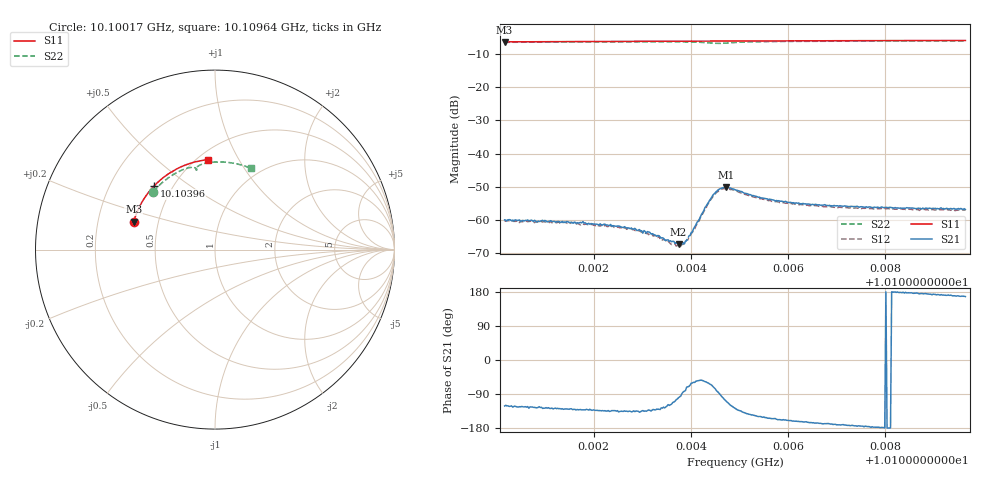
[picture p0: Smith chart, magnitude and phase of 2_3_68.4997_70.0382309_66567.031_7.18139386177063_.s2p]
#  HZ  S  RI  R  50.00
! Rohde & Schwarz Vector Network Analyzer
! Rohde-Schwarz,ZNB20-2Port,1311601062101988,3.16
! Created: UTC 3/20/2024, 5:03:49 PM
! freq[Hz]  re:S11  im:S11  re:S21  im:S21  re:S12  im:S12  re:S22  im:S22
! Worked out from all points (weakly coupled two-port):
!   401 points, 10.10017 GHz to 10.10964 GHz, reference 50 ohm
!   highest |S21| = -50.13 dB at 10.10472 GHz (marker M1); lowest = -67.2 dB at 10.10375 GHz (marker M2)
!   lowest |S11| = -6.4 dB at 10.10017 GHz (marker M3), VSWR 2.84, Z = 18 + j7.28 ohm
!   |S11| at or under -10 dB: nowhere
!   |S22| runs from -6.9 to -6.1 dB; largest |S21 - S12| = 0.00031
!   S11 on the Smith chart (normalised r, x): 10.10017 GHz: 0.36, +0.15; 10.10396 GHz: 0.40, +0.37; 10.10964 GHz: 0.56, +0.76
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1.0100168e10  -0.453 0.1554  -0.000524 -0.00086  -0.000425 -0.000874  -0.3431 0.3236
1.0101542e10  -0.4233 0.2338  -0.000572 -0.000716  -0.00055 -0.000748  -0.2793 0.3852
1.0101755e10  -0.4176 0.2452  -0.000605 -0.000678  -0.000514 -0.000693  -0.2683 0.3937
1.010275e10  -0.3863 0.2971  -0.000524 -0.000523  -0.00048 -0.000556  -0.2133 0.429
1.0103153e10  -0.3719 0.3168  -0.000443 -0.00048  -0.000409 -0.000481  -0.189 0.4407
1.0103343e10  -0.3648 0.3259  -0.000372 -0.000446  -0.000329 -0.000475  -0.177 0.4458
1.0103508e10  -0.3584 0.3334  -0.000262 -0.00043  -0.000231 -0.000399  -0.1664 0.4501
1.0103745e10  -0.3488 0.3443  -7.09e-05 -0.000429  -1.3e-05 -0.000424  -0.15 0.4551
1.0103864e10  -0.344 0.3497  5.77e-05 -0.000434  8.26e-05 -0.000463  -0.1413 0.4569
1.0103959e10  -0.34 0.354  0.0002 -0.000541  0.000274 -0.000486  -0.1343 0.4579
1.0104077e10  -0.335 0.359  0.000407 -0.000681  0.000439 -0.000576  -0.125 0.4583
1.0104338e10  -0.3237 0.3701  0.000872 -0.0015  0.000959 -0.00139  -0.1058 0.4527
1.0104456e10  -0.3185 0.3749  0.000796 -0.00225  0.000938 -0.00206  -0.1014 0.4467
1.0104574e10  -0.3133 0.3798  0.000143 -0.00289  0.000356 -0.00275  -0.1025 0.4426
1.0104717e10  -0.3069 0.3855  -0.00095 -0.00297  -0.00067 -0.00292  -0.1061 0.4462
1.0104906e10  -0.2983 0.393  -0.00173 -0.00227  -0.00148 -0.00233  -0.1019 0.458
1.0105261e10  -0.2814 0.4063  -0.00191 -0.00135  -0.00172 -0.00145  -0.0796 0.4731
1.0105641e10  -0.2628 0.4197  -0.00184 -0.000884  -0.00167 -0.001  -0.0537 0.481
1.0106493e10  -0.2187 0.4465  -0.00167 -0.000424  -0.00153 -0.000568  0.00329 0.4882
1.0107299e10  -0.1746 0.4674  -0.00159 -0.000203  -0.00148 -0.000316  0.0558 0.4873
1.0108081e10  -0.13 0.4832  -0.00155 -1.05e-05  -0.00147 -0.000168  0.1054 0.4808
1.0109644e10  -0.0374 0.5015  -0.00141 0.000313  -0.00141 0.000189  0.201 0.4526
